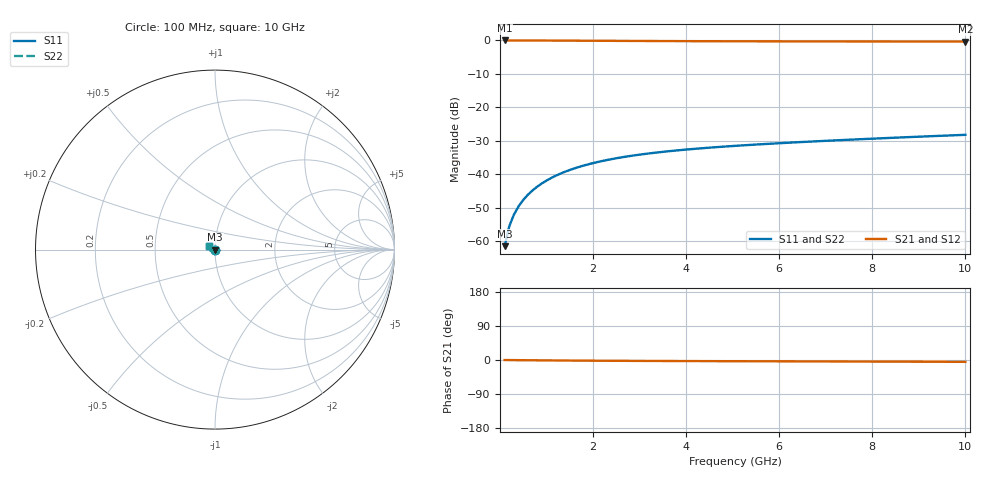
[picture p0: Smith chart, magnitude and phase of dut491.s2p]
! Touchstone file exported from HFSS 2024.1.0
!  File:  C:/UserFiles/LocalFiles/RDL_TSV_Batchsim/temp_TSV1_491_1779700513.aedt
!  Generated:  05:21:46 PM May 25, 2026
!  Design:  TSV1
!  Project:  temp_TSV1_491_1779700513
!  Setup:  Setup1
!  Solution:  Sweep
! Variables:
!  dtsv = 8.61um
!  hbump = 3um
!  htsv = 70.12um
!  lrdl = 252.1521522um
!  p = 40
!  p1 = 59.56um
!  t = 500um
!  trdl = 3um
!  wrdl = 24.89489489um
# GHz S MA R 50.000000
! Terminal data exported
! Port[1] = TSV22_T1
! Port[2] = TSV22_T2
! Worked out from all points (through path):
!   100 points, 100 MHz to 10 GHz, reference 50 ohm
!   highest |S21| = 0.00 dB at 100 MHz (marker M1); lowest = -0.3 dB at 10 GHz (marker M2)
!   lowest |S11| = -61.4 dB at 100 MHz (marker M3), VSWR 1.00, Z = 50 - j0.0838 ohm
!   |S11| at or under -10 dB: start of sweep to end of sweep
!   |S22| runs from -61.4 to -28.2 dB; largest |S21 - S12| = 3.1e-15
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0.1  0.0008508 -80.1  0.9998 -0.1  0.9998 -0.1  0.0008508 -80.1
! Gamma 0 0 0 0
! Port Impedance 50 0 50 0
0.2  0.001682 -88.3  0.9997 -0.2  0.9997 -0.2  0.001682 -88.3
0.3  0.002516 -92.6  0.9995 -0.3  0.9995 -0.3  0.002516 -92.6
0.4  0.003345 -95.9  0.9992 -0.4  0.9992 -0.4  0.003345 -95.9
0.5  0.004167 -98.9  0.9989 -0.5  0.9989 -0.5  0.004167 -98.9
0.6  0.004979 -101.5  0.9986 -0.6  0.9986 -0.6  0.004979 -101.5
0.7  0.005781 -104.1  0.9982 -0.7  0.9982 -0.7  0.005781 -104.1
0.8  0.006571 -106.5  0.9977 -0.8  0.9977 -0.8  0.006571 -106.5
0.9  0.007347 -108.9  0.9972 -0.9  0.9972 -0.9  0.007347 -108.9
1.1  0.008854 -113.5  0.996 -1.1  0.996 -1.1  0.008854 -113.5
1.4  0.01099 -120.0  0.994 -1.4  0.994 -1.4  0.01099 -120.0
1.6  0.01232 -124.1  0.9926 -1.5  0.9926 -1.5  0.01232 -124.1
1.8  0.01359 -128.0  0.9911 -1.7  0.9911 -1.7  0.01359 -128.0
2.1  0.01534 -133.7  0.9888 -1.9  0.9888 -1.9  0.01534 -133.7
2.5  0.01745 -140.7  0.9859 -2.1  0.9859 -2.1  0.01745 -140.7
2.9  0.01932 -147.1  0.9831 -2.3  0.9831 -2.3  0.01932 -147.1
3.4  0.02137 -154.5  0.98 -2.6  0.98 -2.6  0.02137 -154.5
4.2  0.02417 -164.8  0.9757 -2.9  0.9757 -2.9  0.02417 -164.7
5.1  0.02685 -174.6  0.972 -3.2  0.972 -3.2  0.02685 -174.6
6.7  0.03102 171.2  0.9675 -3.7  0.9675 -3.7  0.03102 171.2
8.4  0.03517 159.5  0.9644 -4.3  0.9644 -4.3  0.03517 159.5
10  0.03905 150.6  0.9624 -4.8  0.9624 -4.8  0.03905 150.6
